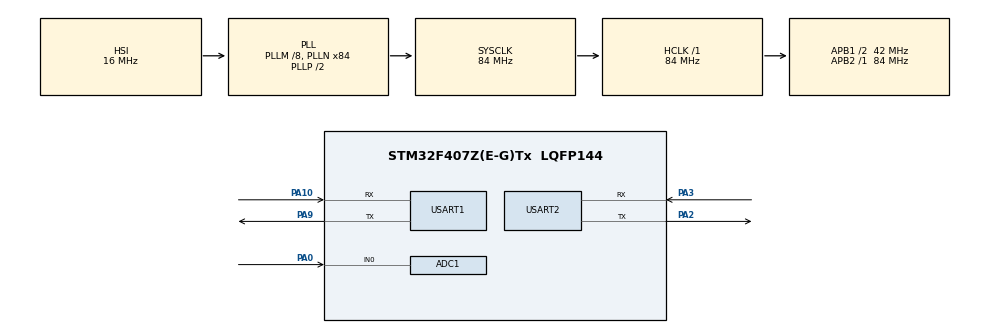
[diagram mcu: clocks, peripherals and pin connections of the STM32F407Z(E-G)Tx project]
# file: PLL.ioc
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ADC1.Channel-0\#ChannelRegularConversion=ADC_CHANNEL_0
ADC1.ExternalTrigConv=ADC_EXTERNALTRIGCONV_T3_TRGO
ADC1.NbrOfConversionFlag=1
ADC1.Rank-0\#ChannelRegularConversion=1
ADC1.SamplingTime-0\#ChannelRegularConversion=ADC_SAMPLETIME_3CYCLES
ADC1.master=1
Dma.ADC1.0.Direction=DMA_PERIPH_TO_MEMORY
Dma.ADC1.0.FIFOMode=DMA_FIFOMODE_DISABLE
Dma.ADC1.0.Instance=DMA2_Stream0
Dma.ADC1.0.MemDataAlignment=DMA_MDATAALIGN_HALFWORD
Dma.ADC1.0.MemInc=DMA_MINC_ENABLE
Dma.ADC1.0.Mode=DMA_NORMAL
Dma.ADC1.0.PeriphDataAlignment=DMA_PDATAALIGN_HALFWORD
Dma.ADC1.0.PeriphInc=DMA_PINC_DISABLE
Dma.ADC1.0.Priority=DMA_PRIORITY_LOW
Dma.Request0=ADC1
Mcu.Family=STM32F4
Mcu.Name=STM32F407Z(E-G)Tx
Mcu.Package=LQFP144
NVIC.DMA2_Stream0_IRQn=true\:0\:0\:false\:false\:true\:false\:true\:true
NVIC.PriorityGroup=NVIC_PRIORITYGROUP_4
NVIC.USART2_IRQn=true\:0\:0\:false\:false\:true\:true\:true\:true
PA0-WKUP.Signal=ADCx_IN0
PA10.Mode=Asynchronous
PA10.Signal=USART1_RX
PA13.Mode=Serial_Wire
PA13.Signal=SYS_JTMS-SWDIO
PA14.Mode=Serial_Wire
PA14.Signal=SYS_JTCK-SWCLK
PA2.Mode=Asynchronous
PA2.Signal=USART2_TX
PA3.Mode=Asynchronous
PA3.Signal=USART2_RX
PA9.Mode=Asynchronous
PA9.Signal=USART1_TX
PH0-OSC_IN.Mode=HSE-External-Oscillator
PH0-OSC_IN.Signal=RCC_OSC_IN
PH1-OSC_OUT.Mode=HSE-External-Oscillator
PH1-OSC_OUT.Signal=RCC_OSC_OUT
ProjectManager.HeapSize=0x200
ProjectManager.StackSize=0x400
ProjectManager.TargetToolchain=MDK-ARM V5.32
RCC.48MHZClocksFreq_Value=42000000
RCC.AHBFreq_Value=84000000
RCC.APB1CLKDivider=RCC_HCLK_DIV2
RCC.APB1Freq_Value=42000000
RCC.APB1TimFreq_Value=84000000
RCC.APB2Freq_Value=84000000
RCC.APB2TimFreq_Value=84000000
RCC.CortexFreq_Value=84000000
RCC.HCLKFreq_Value=84000000
RCC.HSE_VALUE=25000000
RCC.HSI_VALUE=16000000
RCC.LSE_VALUE=32768
RCC.PLLM=8
RCC.PLLN=84
RCC.SYSCLKFreq_VALUE=84000000
RCC.SYSCLKSource=RCC_SYSCLKSOURCE_PLLCLK
RCC.VCOOutputFreq_Value=168000000
SH.ADCx_IN0.0=ADC1_IN0,IN0
TIM3.AutoReloadPreload=TIM_AUTORELOAD_PRELOAD_ENABLE
TIM3.Period=82-1
TIM3.TIM_MasterOutputTrigger=TIM_TRGO_UPDATE
USART1.VirtualMode=VM_ASYNC
USART2.VirtualMode=VM_ASYNC
VP_TIM3_VS_ClockSourceINT.Mode=Internal
board=custom

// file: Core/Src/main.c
/* USER CODE BEGIN Header */
/**
  ******************************************************************************
  * @file           : main.c
  * @brief          : Main program body
  ******************************************************************************
  * @attention
  *
  * Copyright (c) 2025 STMicroelectronics.
  * All rights reserved.
  *
  * This software is licensed under terms that can be found in the LICENSE file
  * in the root directory of this software component.
  * If no LICENSE file comes with this software, it is provided AS-IS.
  *
  ******************************************************************************
  */
/* USER CODE END Header */
#include "main.h"
#include "adc.h"
#include "dma.h"
#include "tim.h"
#include "usart.h"
#include "gpio.h"

/* USER CODE BEGIN Includes */
#include "arm_math.h"
#include "arm_const_structs.h"
#include "stdio.h"
#include "PLL.h"
/* USER CODE END Includes */

/* USER CODE BEGIN PTD */
uint8_t rx1_buf;
uint8_t rx1_tmp;
uint8_t rx1_index;

uint8_t rx2_buf;
uint8_t rx2_tmp;
uint8_t rx2_index;
/* USER CODE END PTD */

/* USER CODE BEGIN PD */
#define FFT_LENGTH 1024
/* USER CODE END PD */

/* USER CODE BEGIN PM */
#define SAMPLE_FREQ 10000.0f
#define TS (1.0f/SAMPLE_FREQ)
SPLL_HandleTypeDef hpll;
uint32_t adc_value;
/* USER CODE END PM */

/* USER CODE BEGIN PV */
uint16_t adc_buff[200];//存放ADC采集的数据
/*
AdcConvEnd用来检测ADC是否采集完毕
0：没有采集完毕
1：采集完毕，在stm32f1xx_it里的DMA完成中断进行修改
 */
__IO uint8_t AdcConvEnd = 0;
uint16_t adcBuff[FFT_LENGTH];

float fft_inputbuf[FFT_LENGTH * 2];
float fft_outputbuf[FFT_LENGTH];

/* USER CODE END PV */

void SystemClock_Config(void);
/* USER CODE BEGIN PFP */
float Calculate_Frequency(uint16_t *adc_data, uint32_t fft_size, float sampling_freq);
/* USER CODE END PFP */

int main(void)
{

  /* USER CODE BEGIN 1 */
  float sampling_freq = 1024280.f; // 修改为1MHz
  /* USER CODE END 1 */

  /* MCU Configuration--------------------------------------------------------*/

  /* Reset of all peripherals, Initializes the Flash interface and the Systick. */
  HAL_Init();

  /* Configure the system clock */
  SystemClock_Config();

  /* Initialize all configured peripherals */
  MX_GPIO_Init();
  MX_DMA_Init();
  MX_ADC1_Init();
  MX_TIM3_Init();
  MX_USART1_UART_Init();
  MX_USART2_UART_Init();
  /* USER CODE BEGIN 2 */
HAL_ADC_Start_DMA(&hadc1, (uint32_t *)adcBuff, FFT_LENGTH);
HAL_TIM_Base_Start(&htim3);
    SPLL_ConfigTypeDef pll_config = {
        .k = 1.414f,       // √2
        .omega_n = 2*PI*50, // 50Hz系统
        .kp = 150.0f,      // 比例系数
        .ki = 2500.0f      // 积分系数
    };
 SPLL_Init(&hpll, &pll_config);
 HAL_ADC_Start_DMA(&hadc1, &adc_value, 1);
  /* USER CODE END 2 */

  /* Infinite loop */
  /* USER CODE BEGIN WHILE */
  while (1)
  {
		        if (!AdcConvEnd) {

        }
    /* USER CODE END WHILE */

  }
}

void SystemClock_Config(void)
{
  RCC_OscInitTypeDef RCC_OscInitStruct = {0};
  RCC_ClkInitTypeDef RCC_ClkInitStruct = {0};

  /** Configure the main internal regulator output voltage
  */
  __HAL_RCC_PWR_CLK_ENABLE();
  __HAL_PWR_VOLTAGESCALING_CONFIG(PWR_REGULATOR_VOLTAGE_SCALE1);

  /** Initializes the RCC Oscillators according to the specified parameters
  * in the RCC_OscInitTypeDef structure.
  */
  RCC_OscInitStruct.OscillatorType = RCC_OSCILLATORTYPE_HSI;
  RCC_OscInitStruct.HSIState = RCC_HSI_ON;
  RCC_OscInitStruct.HSICalibrationValue = RCC_HSICALIBRATION_DEFAULT;
  RCC_OscInitStruct.PLL.PLLState = RCC_PLL_ON;
  RCC_OscInitStruct.PLL.PLLSource = RCC_PLLSOURCE_HSI;
  RCC_OscInitStruct.PLL.PLLM = 8;
  RCC_OscInitStruct.PLL.PLLN = 84;
  RCC_OscInitStruct.PLL.PLLP = RCC_PLLP_DIV2;
  RCC_OscInitStruct.PLL.PLLQ = 4;
  if (HAL_RCC_OscConfig(&RCC_OscInitStruct) != HAL_OK)
  {
    Error_Handler();
  }

  /** Initializes the CPU, AHB and APB buses clocks
  */
  RCC_ClkInitStruct.ClockType = RCC_CLOCKTYPE_HCLK|RCC_CLOCKTYPE_SYSCLK
                              |RCC_CLOCKTYPE_PCLK1|RCC_CLOCKTYPE_PCLK2;
  RCC_ClkInitStruct.SYSCLKSource = RCC_SYSCLKSOURCE_PLLCLK;
  RCC_ClkInitStruct.AHBCLKDivider = RCC_SYSCLK_DIV1;
  RCC_ClkInitStruct.APB1CLKDivider = RCC_HCLK_DIV2;
  RCC_ClkInitStruct.APB2CLKDivider = RCC_HCLK_DIV1;

  if (HAL_RCC_ClockConfig(&RCC_ClkInitStruct, FLASH_LATENCY_2) != HAL_OK)
  {
    Error_Handler();
  }
}

/* USER CODE BEGIN 4 */

void HAL_ADC_ConvCpltCallback(ADC_HandleTypeDef* hadc)
	{
    float vin = (adc_value / 4095.0f) * 3.3f; // 转换为电压值

    // 更新锁相环
    SPLL_Update(&hpll, vin, TS);

    // 按固定频率输出调试信息
    static uint32_t counter = 0;
    if(++counter >= (SAMPLE_FREQ/100)) { // 100Hz输出频率
        counter = 0;
        printf("F:%.2fHz, Ph:%.1f°\r\n",
              SPLL_GetFrequency(&hpll),
              SPLL_GetPhaseDeg(&hpll));
    }
}

/* USER CODE END 4 */

void Error_Handler(void)
{
  __disable_irq();
  while (1)
  {
  }
}
